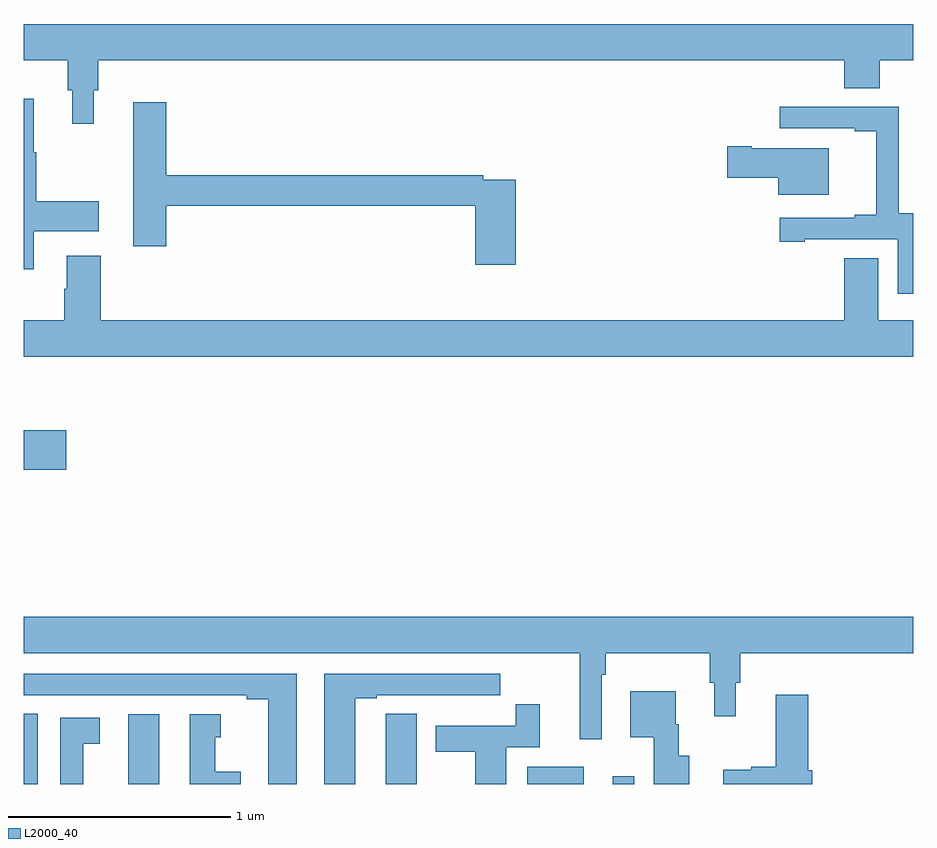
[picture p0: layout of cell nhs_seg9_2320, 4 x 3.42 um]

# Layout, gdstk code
import gdstk
lib = gdstk.Library(unit=1e-6, precision=1e-09)
def R(c, l, rs):  # rectangles x0, y0, x1, y1
    for r in rs: c.add(gdstk.rectangle(r[:2], r[2:], *l))
def P(c, l, *ps):  # polygons
    for p in ps: c.add(gdstk.Polygon(p, *l))
L2000_40 = (2000, 40)

nhs_seg9_2320 = lib.new_cell('nhs_seg9_2320')
R(nhs_seg9_2320, L2000_40, [(243,1194.5,243.064,1194.815), (243.47,1194.5,243.61,1194.814), (245.264,1194.5,245.518,1194.577), (245.648,1194.5,245.745,1194.535), (243,1195.913,243.193,1196.091)])
P(nhs_seg9_2320, L2000_40, [(243.316,1197.618),(243.335,1197.618),(243.335,1197.752),(246.689,1197.752),(246.689,1197.628),(246.849,1197.628),(246.849,1197.752),(247,1197.752),(247,1197.916),(243,1197.916),(243,1197.752),(243.199,1197.752),(243.199,1197.618),(243.218,1197.618),(243.218,1197.468),(243.316,1197.468)],
  [(243.046,1196.984),(243.337,1196.984),(243.337,1197.119),(243.058,1197.119),(243.058,1197.339),(243.046,1197.339),(243.046,1197.58),(243,1197.58),(243,1196.814),(243.046,1196.814)],
  [(245.213,1197.216),(245.066,1197.216),(245.066,1197.236),(243.641,1197.236),(243.641,1197.565),(243.494,1197.565),(243.494,1196.916),(243.641,1196.916),(243.641,1197.1),(245.03,1197.1),(245.03,1196.835),(245.213,1196.835)],
  [(247,1197.065),(246.933,1197.065),(246.933,1197.543),(246.399,1197.543),(246.399,1197.447),(246.737,1197.447),(246.737,1197.435),(246.833,1197.435),(246.833,1197.058),(246.737,1197.058),(246.737,1197.045),(246.399,1197.045),(246.399,1196.937),(246.511,1196.937),(246.511,1196.949),(246.93,1196.949),(246.93,1196.703),(247,1196.703)],
  [(246.619,1197.358),(246.274,1197.358),(246.274,1197.366),(246.162,1197.366),(246.162,1197.224),(246.392,1197.224),(246.392,1197.149),(246.619,1197.149)],
  [(247,1196.584),(246.841,1196.584),(246.841,1196.864),(246.689,1196.864),(246.689,1196.584),(243.347,1196.584),(243.347,1196.875),(243.194,1196.875),(243.194,1196.726),(243.182,1196.726),(243.182,1196.584),(243,1196.584),(243,1196.42),(247,1196.42)],
  [(245.598,1194.992),(245.618,1194.992),(245.618,1195.088),(246.085,1195.088),(246.085,1194.954),(246.104,1194.954),(246.104,1194.804),(246.202,1194.804),(246.202,1194.954),(246.221,1194.954),(246.221,1195.088),(247,1195.088),(247,1195.252),(243,1195.252),(243,1195.088),(245.501,1195.088),(245.501,1194.702),(245.598,1194.702)],
  [(244.228,1194.996),(243,1194.996),(243,1194.9),(244.004,1194.9),(244.004,1194.88),(244.1,1194.88),(244.1,1194.5),(244.228,1194.5)],
  [(244.492,1194.885),(244.588,1194.885),(244.588,1194.9),(244.864,1194.9),(244.864,1194.899),(245.03,1194.899),(245.03,1194.9),(245.143,1194.9),(245.143,1194.996),(244.352,1194.996),(244.352,1194.5),(244.492,1194.5)],
  [(245.992,1194.628),(245.944,1194.628),(245.944,1194.768),(245.931,1194.768),(245.931,1194.916),(245.726,1194.916),(245.726,1194.71),(245.833,1194.71),(245.833,1194.5),(245.992,1194.5)],
  [(246.545,1194.561),(246.527,1194.561),(246.527,1194.901),(246.38,1194.901),(246.38,1194.578),(246.27,1194.578),(246.27,1194.565),(246.144,1194.565),(246.144,1194.5),(246.545,1194.5)],
  [(245.17,1194.666),(245.321,1194.666),(245.321,1194.859),(245.212,1194.859),(245.212,1194.762),(244.853,1194.762),(244.853,1194.646),(245.03,1194.646),(245.03,1194.5),(245.17,1194.5)],
  [(244.768,1194.815),(244.629,1194.815),(244.629,1194.707),(244.628,1194.707),(244.628,1194.5),(244.768,1194.5)],
  [(243.976,1194.556),(243.862,1194.556),(243.862,1194.711),(243.886,1194.711),(243.886,1194.814),(243.746,1194.814),(243.746,1194.5),(243.976,1194.5)],
  [(243.268,1194.682),(243.343,1194.682),(243.343,1194.798),(243.164,1194.798),(243.164,1194.5),(243.268,1194.5)])

lib.write_gds('nhs_seg9_2320.gds')
